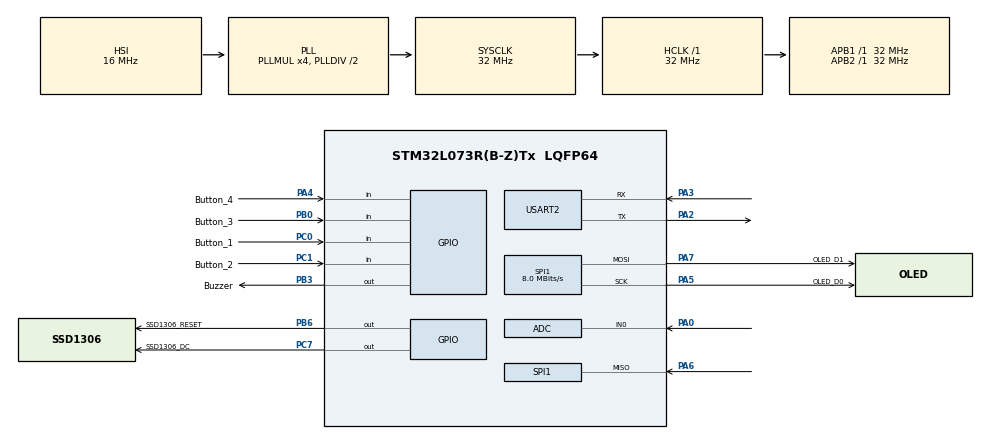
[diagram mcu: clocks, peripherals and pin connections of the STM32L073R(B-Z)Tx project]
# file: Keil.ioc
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ADC.ContinuousConvMode=DISABLE
ADC.DMAContinuousRequests=ENABLE
ADC.ExternalTrigConv=ADC_SOFTWARE_START
ADC.SamplingTime=ADC_SAMPLETIME_39CYCLES_5
Dma.ADC.0.Direction=DMA_PERIPH_TO_MEMORY
Dma.ADC.0.Instance=DMA1_Channel1
Dma.ADC.0.MemDataAlignment=DMA_MDATAALIGN_HALFWORD
Dma.ADC.0.MemInc=DMA_MINC_ENABLE
Dma.ADC.0.Mode=DMA_NORMAL
Dma.ADC.0.PeriphDataAlignment=DMA_PDATAALIGN_HALFWORD
Dma.ADC.0.PeriphInc=DMA_PINC_DISABLE
Dma.ADC.0.Priority=DMA_PRIORITY_LOW
Dma.Request0=ADC
Mcu.Family=STM32L0
Mcu.Name=STM32L073R(B-Z)Tx
Mcu.Package=LQFP64
NVIC.ADC1_COMP_IRQn=true\:0\:0\:false\:false\:true\:true\:true\:true
NVIC.DMA1_Channel1_IRQn=true\:0\:0\:false\:false\:true\:false\:true\:true
NVIC.TIM6_DAC_IRQn=true\:1\:0\:true\:false\:true\:true\:true\:true
NVIC.TIM7_IRQn=true\:0\:0\:false\:false\:true\:true\:true\:true
NVIC.USART2_IRQn=true\:0\:0\:false\:false\:true\:true\:true\:true
PA0.Mode=IN0
PA0.Signal=ADC_IN0
PA2.Mode=Asynchronous
PA2.Signal=USART2_TX
PA3.Mode=Asynchronous
PA3.Signal=USART2_RX
PA4.GPIO_Label=Button_4
PA4.GPIO_PuPd=GPIO_PULLUP
PA4.Signal=GPIO_Input
PA5.GPIO_Label=OLED_D0
PA5.Mode=Full_Duplex_Master
PA5.Signal=SPI1_SCK
PA6.Mode=Full_Duplex_Master
PA6.Signal=SPI1_MISO
PA7.GPIO_Label=OLED_D1
PA7.Mode=Full_Duplex_Master
PA7.Signal=SPI1_MOSI
PB0.GPIO_Label=Button_3
PB0.GPIO_PuPd=GPIO_PULLUP
PB0.Signal=GPIO_Input
PB3.GPIO_Label=Buzzer
PB3.Signal=GPIO_Output
PB6.GPIO_Label=SSD1306_RESET
PB6.GPIO_PuPd=GPIO_NOPULL
PB6.GPIO_Speed=GPIO_SPEED_FREQ_LOW
PB6.PinState=GPIO_PIN_SET
PB6.Signal=GPIO_Output
PC0.GPIO_Label=Button_1
PC0.GPIO_PuPd=GPIO_PULLUP
PC0.Signal=GPIO_Input
PC1.GPIO_Label=Button_2
PC1.GPIO_PuPd=GPIO_PULLUP
PC1.Signal=GPIO_Input
PC7.GPIO_Label=SSD1306_DC
PC7.GPIO_PuPd=GPIO_NOPULL
PC7.GPIO_Speed=GPIO_SPEED_FREQ_HIGH
PC7.Signal=GPIO_Output
PC7.Stacked=true
ProjectManager.HeapSize=0x200
ProjectManager.StackSize=0x400
ProjectManager.TargetToolchain=MDK-ARM V5.32
RCC.AHBFreq_Value=32000000
RCC.APB1Freq_Value=32000000
RCC.APB1TimFreq_Value=32000000
RCC.APB2Freq_Value=32000000
RCC.APB2TimFreq_Value=32000000
RCC.HCLKFreq_Value=32000000
RCC.HSE_VALUE=8000000
RCC.HSI16_VALUE=16000000
RCC.HSI48_VALUE=48000000
RCC.HSI_VALUE=16000000
RCC.LSE_VALUE=32768
RCC.MSI_VALUE=2097000
RCC.PLLMUL=RCC_PLLMUL_4
RCC.SYSCLKFreq_VALUE=32000000
RCC.SYSCLKSource=RCC_SYSCLKSOURCE_PLLCLK
RCC.VCOOutputFreq_Value=64000000
SPI1.BaudRatePrescaler=SPI_BAUDRATEPRESCALER_4
SPI1.CalculateBaudRate=8.0 MBits/s
SPI1.Direction=SPI_DIRECTION_2LINES
SPI1.Mode=SPI_MODE_MASTER
SPI1.VirtualType=VM_MASTER
TIM6.AutoReloadPreload=TIM_AUTORELOAD_PRELOAD_ENABLE
TIM6.Period=99
TIM6.Prescaler=31
TIM7.AutoReloadPreload=TIM_AUTORELOAD_PRELOAD_ENABLE
TIM7.Period=199
TIM7.Prescaler=31999
USART2.TxPinLevelInvertParam=ADVFEATURE_TXINV_DISABLE
USART2.VirtualMode-Asynchronous=VM_ASYNC
VP_TIM6_VS_ClockSourceINT.Mode=Enable_Timer
VP_TIM7_VS_ClockSourceINT.Mode=Enable_Timer
board=custom

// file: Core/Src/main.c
/* USER CODE BEGIN Header */
/**
  ******************************************************************************
  * @file           : main.c
  * @brief          : Main program body
  ******************************************************************************
  * @attention
  *
  * Copyright (c) 2026 STMicroelectronics.
  * All rights reserved.
  *
  * This software is licensed under terms that can be found in the LICENSE file
  * in the root directory of this software component.
  * If no LICENSE file comes with this software, it is provided AS-IS.
  *
  ******************************************************************************
  */
/* USER CODE END Header */
#include "main.h"

/* USER CODE BEGIN Includes */
#include "Statechart.h"
#include "Statechart_required.h"
#include <math.h>
#include <string.h>
#include <stdio.h>

#include "OLED_SSD1306.h"
#include "GFX_BW.h"
#include "fonts.h"

/* USER CODE END Includes */

ADC_HandleTypeDef hadc;
DMA_HandleTypeDef hdma_adc;

SPI_HandleTypeDef hspi1;

TIM_HandleTypeDef htim6;
TIM_HandleTypeDef htim7;

UART_HandleTypeDef huart2;

/* USER CODE BEGIN PV */
uint32_t lcd_timer = 0;
uint32_t uart_timer = 0;

/* USER CODE END PV */

void SystemClock_Config(void);
static void MX_GPIO_Init(void);
static void MX_DMA_Init(void);
static void MX_ADC_Init(void);
static void MX_SPI1_Init(void);
static void MX_TIM6_Init(void);
static void MX_TIM7_Init(void);
static void MX_USART2_UART_Init(void);

/* USER CODE BEGIN 0 */
Statechart sc_handle;

// Konstantos
#define SAMPLE_COUNT 200
#define VREF         3.3f
#define ADC_MAX      4095.0f
#define SHUNT_OHM    10.0f    // shunt reiksme ohmais
#define GAIN          1.53f// (R3+R4)/R2   15,04/9,82

//Kintamieji
float V_BIAS =      1.66f;
float    RMS_Value;
float    Amplitude;
float v_out;
float v_shunt;

// ADC
uint16_t DataBufferADC[SAMPLE_COUNT];
uint16_t ADC_VAL  = 0;
uint16_t ADC_Sample = 0;

uint8_t TxBuffer[30];
int i;
typedef enum {UART_READY,UART_BUSY,UART_FINISHED} UART_Status;
UART_Status Status=UART_READY;

//Mygtukai
//B1 Kalibravimas
volatile uint32_t cal_msg_until = 0;
volatile uint8_t  cal_done      = 0;

//B2 paskutinės reikšmės OLED ekrane rodymas
volatile uint8_t hold_active  = 0;
float RMS_Hold    = 0.0f;
float Amplitude_Hold = 0.0f;

// Debug
volatile int debug_flag_uart = 0;
volatile int debug_flag_lcd  = 0;

void HandleError_Uart()
{
uint32_t uart_err;
uart_err=HAL_UART_GetError(&huart2);
}

void HAL_UART_TxCpltCallback(UART_HandleTypeDef *huart)
{
if (Status==UART_BUSY)
 Status=UART_READY; // transmition finished, can send more if needed
}

void statechart_startConvADC( Statechart* handle)
{
	HAL_ADC_Start_DMA(&hadc, (uint32_t*)&ADC_VAL, 1);
}

sc_integer statechart_readADCSample( Statechart* handle, const sc_integer channel)
{
	ADC_Sample=ADC_VAL;

	return 1;
}

sc_integer statechart_saveADCSample( Statechart* handle, const sc_integer channel, const sc_integer sample)
{
	 if ((uint32_t)sample < SAMPLE_COUNT)
        DataBufferADC[sample] = ADC_VAL;
    return 1;

}

void Calibrate_Bias(void)
{
	// Paimam vidurkį iš jau surinkto buferio
    float sum = 0.0f;
    for (int i = 0; i < SAMPLE_COUNT; i++)
        sum += ((float)DataBufferADC[i] / ADC_MAX) * VREF;
    V_BIAS = sum / SAMPLE_COUNT;
}

void statechart_processData(Statechart* handle)
{
    float sum_sq = 0.0f;
    float peak   = 0.0f;

    for (int i = 0; i < SAMPLE_COUNT; i++)
    {
        // ADC reikšmė -> įtampa
					v_out = ((float)DataBufferADC[i] / ADC_MAX) * VREF;
        // Įtampos ant sunto skaiciavimas
         v_shunt = (v_out - V_BIAS) / GAIN;

        // Įtampa -> srovė (mA)
        float current_mA = (v_shunt / SHUNT_OHM) * 1000.0f;

        // RMS
        sum_sq += current_mA * current_mA;

        // Amplitude
        float abs_cur = fabsf(current_mA);

        if (abs_cur > peak) peak = abs_cur;
    }

    RMS_Value = sqrtf(sum_sq / SAMPLE_COUNT);
    Amplitude = peak;

		if (Amplitude > 100.0f)
        HAL_GPIO_WritePin(Buzzer_GPIO_Port, Buzzer_Pin, GPIO_PIN_SET);
    else
        HAL_GPIO_WritePin(Buzzer_GPIO_Port, Buzzer_Pin, GPIO_PIN_RESET);
}

void statechart_displayInfo(Statechart* handle)
{
    static char buf[32];

    SSD1306_Clear(BLACK);
    GFX_SetFont(font_8x5);
    GFX_SetFontSize(2);

    // Kalibravimo pranešimas 1.5s
    if (cal_done && HAL_GetTick() < cal_msg_until)
    {
        sprintf(buf, "%.3fV OK", V_BIAS);
        GFX_DrawString(0, 20, buf, WHITE, 0);
        SSD1306_Display();
        return;
    }
    cal_done = 0;  // pranešimas baigėsi

    // Įprasti matavimai
    float show_rms = hold_active ? RMS_Hold       : RMS_Value;
    float show_amp = hold_active ? Amplitude_Hold : Amplitude;

    sprintf(buf, "RMS:%.2f mA", show_rms);
    GFX_DrawString(0, 0, buf, WHITE, 0);

    sprintf(buf, "AMP:%.2f mA", show_amp);
    GFX_DrawString(0, 22, buf, WHITE, 0);

    GFX_SetFontSize(1);
		sprintf(buf, "%s", hold_active ? "HOLD" : "    "),
		GFX_DrawString(0, 52, buf, WHITE, 0);

    SSD1306_Display();
    debug_flag_lcd++;
}

void statechart_sendUART( Statechart* handle)
{
	debug_flag_uart++;

if (Status == UART_READY)
    {
        snprintf((char*)TxBuffer, sizeof(TxBuffer), "RMS=%.2f mA, AMP=%.2f mA\r\n", RMS_Value, Amplitude);

        if (HAL_UART_Transmit_IT(&huart2, (uint8_t*)TxBuffer, strlen((char*)TxBuffer)) == HAL_OK)
        {
            Status = UART_BUSY;
        }
    }

}

void statechart_checkButtons(Statechart* handle)
{
    static uint32_t last_B1 = 0, last_B2 = 0;
    static uint32_t B1_press_start = 0;
    uint32_t now = HAL_GetTick();

    // Button_1 - V_BIAS kalibracija
    if (HAL_GPIO_ReadPin(Button_1_GPIO_Port, Button_1_Pin) == GPIO_PIN_RESET)
    {
        if (B1_press_start == 0)
            B1_press_start = now;

        if ((now - B1_press_start) >= 2000)
        {
            B1_press_start = 0;
            last_B1 = now;

            Calibrate_Bias();

            // Nustatom laiką kiek rodyti pranešimą
            cal_msg_until = now + 1500;
            cal_done = 1;
        }
    }
    else
    {
        B1_press_start = 0;
    }

    // Button_2 - Hold on/off
    if (HAL_GPIO_ReadPin(Button_2_GPIO_Port, Button_2_Pin) == GPIO_PIN_RESET)
    {
        if ((now - last_B2) >= 300)
        {
            last_B2 = now;
            hold_active = !hold_active;
            if (hold_active)
            {
                RMS_Hold       = RMS_Value;
                Amplitude_Hold = Amplitude;
            }
        }
    }

    // Button_3
//    if (HAL_GPIO_ReadPin(Button_3_GPIO_Port, Button_3_Pin) == GPIO_PIN_RESET)
//    {

//    }

}

// Laikmaciu pertraukciu callback
void HAL_TIM_PeriodElapsedCallback(TIM_HandleTypeDef *htim)
{
    if (htim->Instance == TIM6)
    {
        // ADC GetSample
        statechart_raise_ev_GetSample(&sc_handle);
    }

		 else if (htim->Instance == TIM7)
    {
				static uint8_t tim_counter = 0;
        tim_counter++;

        // Kas 0.2s
        statechart_raise_ev_SendUart(&sc_handle);
				statechart_raise_ev_Button(&sc_handle);
        // Kas 1s
        if (tim_counter >= 5)
        {
            tim_counter = 0;
            statechart_raise_ev_DisplayLCD(&sc_handle);
        }

    }

}

void HAL_ADC_ConvCpltCallback(ADC_HandleTypeDef *hadc)
{
	statechart_raise_ev_ADCSampleReady(&sc_handle); //raise event TimerIntr in statechart
}

/* USER CODE END 0 */

int main(void)
{

  /* MCU Configuration--------------------------------------------------------*/

  /* Reset of all peripherals, Initializes the Flash interface and the Systick. */
  HAL_Init();

  /* Configure the system clock */
  SystemClock_Config();

  /* Initialize all configured peripherals */
  MX_GPIO_Init();
  MX_DMA_Init();
  MX_ADC_Init();
  MX_SPI1_Init();
  MX_TIM6_Init();
  MX_TIM7_Init();
  MX_USART2_UART_Init();
  /* USER CODE BEGIN 2 */
	HAL_ADCEx_Calibration_Start(&hadc, ADC_SINGLE_ENDED); // ADC kalibracija

statechart_init(&sc_handle);
statechart_enter(&sc_handle);

HAL_TIM_Base_Start_IT(&htim6);  //ADC laikmatis
HAL_TIM_Base_Start_IT(&htim7);  //OLED ir UART laikmatis

SSD1306_SpiInit(&hspi1);
SSD1306_Clear(BLACK);
SSD1306_Display();

  /* USER CODE END 2 */

  /* Infinite loop */
  while (1)
  {

  }
}

void SystemClock_Config(void)
{
  RCC_OscInitTypeDef RCC_OscInitStruct = {0};
  RCC_ClkInitTypeDef RCC_ClkInitStruct = {0};
  RCC_PeriphCLKInitTypeDef PeriphClkInit = {0};

  /** Configure the main internal regulator output voltage
  */
  __HAL_PWR_VOLTAGESCALING_CONFIG(PWR_REGULATOR_VOLTAGE_SCALE1);

  /** Initializes the RCC Oscillators according to the specified parameters
  * in the RCC_OscInitTypeDef structure.
  */
  RCC_OscInitStruct.OscillatorType = RCC_OSCILLATORTYPE_HSI;
  RCC_OscInitStruct.HSIState = RCC_HSI_ON;
  RCC_OscInitStruct.HSICalibrationValue = RCC_HSICALIBRATION_DEFAULT;
  RCC_OscInitStruct.PLL.PLLState = RCC_PLL_ON;
  RCC_OscInitStruct.PLL.PLLSource = RCC_PLLSOURCE_HSI;
  RCC_OscInitStruct.PLL.PLLMUL = RCC_PLLMUL_4;
  RCC_OscInitStruct.PLL.PLLDIV = RCC_PLLDIV_2;
  if (HAL_RCC_OscConfig(&RCC_OscInitStruct) != HAL_OK)
  {
    Error_Handler();
  }

  /** Initializes the CPU, AHB and APB buses clocks
  */
  RCC_ClkInitStruct.ClockType = RCC_CLOCKTYPE_HCLK|RCC_CLOCKTYPE_SYSCLK
                              |RCC_CLOCKTYPE_PCLK1|RCC_CLOCKTYPE_PCLK2;
  RCC_ClkInitStruct.SYSCLKSource = RCC_SYSCLKSOURCE_PLLCLK;
  RCC_ClkInitStruct.AHBCLKDivider = RCC_SYSCLK_DIV1;
  RCC_ClkInitStruct.APB1CLKDivider = RCC_HCLK_DIV1;
  RCC_ClkInitStruct.APB2CLKDivider = RCC_HCLK_DIV1;

  if (HAL_RCC_ClockConfig(&RCC_ClkInitStruct, FLASH_LATENCY_1) != HAL_OK)
  {
    Error_Handler();
  }
  PeriphClkInit.PeriphClockSelection = RCC_PERIPHCLK_USART2;
  PeriphClkInit.Usart2ClockSelection = RCC_USART2CLKSOURCE_PCLK1;
  if (HAL_RCCEx_PeriphCLKConfig(&PeriphClkInit) != HAL_OK)
  {
    Error_Handler();
  }
}

static void MX_ADC_Init(void)
{

  ADC_ChannelConfTypeDef sConfig = {0};

  /** Configure the global features of the ADC (Clock, Resolution, Data Alignment and number of conversion)
  */
  hadc.Instance = ADC1;
  hadc.Init.OversamplingMode = DISABLE;
  hadc.Init.ClockPrescaler = ADC_CLOCK_SYNC_PCLK_DIV2;
  hadc.Init.Resolution = ADC_RESOLUTION_12B;
  hadc.Init.SamplingTime = ADC_SAMPLETIME_39CYCLES_5;
  hadc.Init.ScanConvMode = ADC_SCAN_DIRECTION_FORWARD;
  hadc.Init.DataAlign = ADC_DATAALIGN_RIGHT;
  hadc.Init.ContinuousConvMode = DISABLE;
  hadc.Init.DiscontinuousConvMode = DISABLE;
  hadc.Init.ExternalTrigConvEdge = ADC_EXTERNALTRIGCONVEDGE_NONE;
  hadc.Init.ExternalTrigConv = ADC_SOFTWARE_START;
  hadc.Init.DMAContinuousRequests = ENABLE;
  hadc.Init.EOCSelection = ADC_EOC_SINGLE_CONV;
  hadc.Init.Overrun = ADC_OVR_DATA_PRESERVED;
  hadc.Init.LowPowerAutoWait = DISABLE;
  hadc.Init.LowPowerFrequencyMode = DISABLE;
  hadc.Init.LowPowerAutoPowerOff = DISABLE;
  if (HAL_ADC_Init(&hadc) != HAL_OK)
  {
    Error_Handler();
  }

  /** Configure for the selected ADC regular channel to be converted.
  */
  sConfig.Channel = ADC_CHANNEL_0;
  sConfig.Rank = ADC_RANK_CHANNEL_NUMBER;
  if (HAL_ADC_ConfigChannel(&hadc, &sConfig) != HAL_OK)
  {
    Error_Handler();
  }

}

static void MX_SPI1_Init(void)
{

  /* SPI1 parameter configuration*/
  hspi1.Instance = SPI1;
  hspi1.Init.Mode = SPI_MODE_MASTER;
  hspi1.Init.Direction = SPI_DIRECTION_2LINES;
  hspi1.Init.DataSize = SPI_DATASIZE_8BIT;
  hspi1.Init.CLKPolarity = SPI_POLARITY_LOW;
  hspi1.Init.CLKPhase = SPI_PHASE_1EDGE;
  hspi1.Init.NSS = SPI_NSS_SOFT;
  hspi1.Init.BaudRatePrescaler = SPI_BAUDRATEPRESCALER_4;
  hspi1.Init.FirstBit = SPI_FIRSTBIT_MSB;
  hspi1.Init.TIMode = SPI_TIMODE_DISABLE;
  hspi1.Init.CRCCalculation = SPI_CRCCALCULATION_DISABLE;
  hspi1.Init.CRCPolynomial = 7;
  if (HAL_SPI_Init(&hspi1) != HAL_OK)
  {
    Error_Handler();
  }

}

static void MX_TIM6_Init(void)
{

  TIM_MasterConfigTypeDef sMasterConfig = {0};

  htim6.Instance = TIM6;
  htim6.Init.Prescaler = 31;
  htim6.Init.CounterMode = TIM_COUNTERMODE_UP;
  htim6.Init.Period = 99;
  htim6.Init.AutoReloadPreload = TIM_AUTORELOAD_PRELOAD_ENABLE;
  if (HAL_TIM_Base_Init(&htim6) != HAL_OK)
  {
    Error_Handler();
  }
  sMasterConfig.MasterOutputTrigger = TIM_TRGO_RESET;
  sMasterConfig.MasterSlaveMode = TIM_MASTERSLAVEMODE_DISABLE;
  if (HAL_TIMEx_MasterConfigSynchronization(&htim6, &sMasterConfig) != HAL_OK)
  {
    Error_Handler();
  }

}

static void MX_TIM7_Init(void)
{

  TIM_MasterConfigTypeDef sMasterConfig = {0};

  htim7.Instance = TIM7;
  htim7.Init.Prescaler = 31999;
  htim7.Init.CounterMode = TIM_COUNTERMODE_UP;
  htim7.Init.Period = 199;
  htim7.Init.AutoReloadPreload = TIM_AUTORELOAD_PRELOAD_ENABLE;
  if (HAL_TIM_Base_Init(&htim7) != HAL_OK)
  {
    Error_Handler();
  }
  sMasterConfig.MasterOutputTrigger = TIM_TRGO_RESET;
  sMasterConfig.MasterSlaveMode = TIM_MASTERSLAVEMODE_DISABLE;
  if (HAL_TIMEx_MasterConfigSynchronization(&htim7, &sMasterConfig) != HAL_OK)
  {
    Error_Handler();
  }

}

static void MX_USART2_UART_Init(void)
{

  huart2.Instance = USART2;
  huart2.Init.BaudRate = 115200;
  huart2.Init.WordLength = UART_WORDLENGTH_8B;
  huart2.Init.StopBits = UART_STOPBITS_1;
  huart2.Init.Parity = UART_PARITY_NONE;
  huart2.Init.Mode = UART_MODE_TX_RX;
  huart2.Init.HwFlowCtl = UART_HWCONTROL_NONE;
  huart2.Init.OverSampling = UART_OVERSAMPLING_16;
  huart2.Init.OneBitSampling = UART_ONE_BIT_SAMPLE_DISABLE;
  huart2.AdvancedInit.AdvFeatureInit = UART_ADVFEATURE_NO_INIT;
  if (HAL_UART_Init(&huart2) != HAL_OK)
  {
    Error_Handler();
  }

}

static void MX_DMA_Init(void)
{

  /* DMA controller clock enable */
  __HAL_RCC_DMA1_CLK_ENABLE();

  /* DMA interrupt init */
  /* DMA1_Channel1_IRQn interrupt configuration */
  HAL_NVIC_SetPriority(DMA1_Channel1_IRQn, 0, 0);
  HAL_NVIC_EnableIRQ(DMA1_Channel1_IRQn);

}

static void MX_GPIO_Init(void)
{
  GPIO_InitTypeDef GPIO_InitStruct = {0};

  /* GPIO Ports Clock Enable */
  __HAL_RCC_GPIOC_CLK_ENABLE();
  __HAL_RCC_GPIOA_CLK_ENABLE();
  __HAL_RCC_GPIOB_CLK_ENABLE();

  /*Configure GPIO pin Output Level */
  HAL_GPIO_WritePin(SSD1306_DC_GPIO_Port, SSD1306_DC_Pin, GPIO_PIN_RESET);

  /*Configure GPIO pin Output Level */
  HAL_GPIO_WritePin(Buzzer_GPIO_Port, Buzzer_Pin, GPIO_PIN_RESET);

  /*Configure GPIO pin Output Level */
  HAL_GPIO_WritePin(SSD1306_RESET_GPIO_Port, SSD1306_RESET_Pin, GPIO_PIN_SET);

  /*Configure GPIO pins : Button_1_Pin Button_2_Pin */
  GPIO_InitStruct.Pin = Button_1_Pin|Button_2_Pin;
  GPIO_InitStruct.Mode = GPIO_MODE_INPUT;
  GPIO_InitStruct.Pull = GPIO_PULLUP;
  HAL_GPIO_Init(GPIOC, &GPIO_InitStruct);

  /*Configure GPIO pin : Button_4_Pin */
  GPIO_InitStruct.Pin = Button_4_Pin;
  GPIO_InitStruct.Mode = GPIO_MODE_INPUT;
  GPIO_InitStruct.Pull = GPIO_PULLUP;
  HAL_GPIO_Init(Button_4_GPIO_Port, &GPIO_InitStruct);

  /*Configure GPIO pin : Button_3_Pin */
  GPIO_InitStruct.Pin = Button_3_Pin;
  GPIO_InitStruct.Mode = GPIO_MODE_INPUT;
  GPIO_InitStruct.Pull = GPIO_PULLUP;
  HAL_GPIO_Init(Button_3_GPIO_Port, &GPIO_InitStruct);

  /*Configure GPIO pin : SSD1306_DC_Pin */
  GPIO_InitStruct.Pin = SSD1306_DC_Pin;
  GPIO_InitStruct.Mode = GPIO_MODE_OUTPUT_PP;
  GPIO_InitStruct.Pull = GPIO_NOPULL;
  GPIO_InitStruct.Speed = GPIO_SPEED_FREQ_HIGH;
  HAL_GPIO_Init(SSD1306_DC_GPIO_Port, &GPIO_InitStruct);

  /*Configure GPIO pins : Buzzer_Pin SSD1306_RESET_Pin */
  GPIO_InitStruct.Pin = Buzzer_Pin|SSD1306_RESET_Pin;
  GPIO_InitStruct.Mode = GPIO_MODE_OUTPUT_PP;
  GPIO_InitStruct.Pull = GPIO_NOPULL;
  GPIO_InitStruct.Speed = GPIO_SPEED_FREQ_LOW;
  HAL_GPIO_Init(GPIOB, &GPIO_InitStruct);

}

void Error_Handler(void)
{
  __disable_irq();
  while (1)
  {
  }
}
